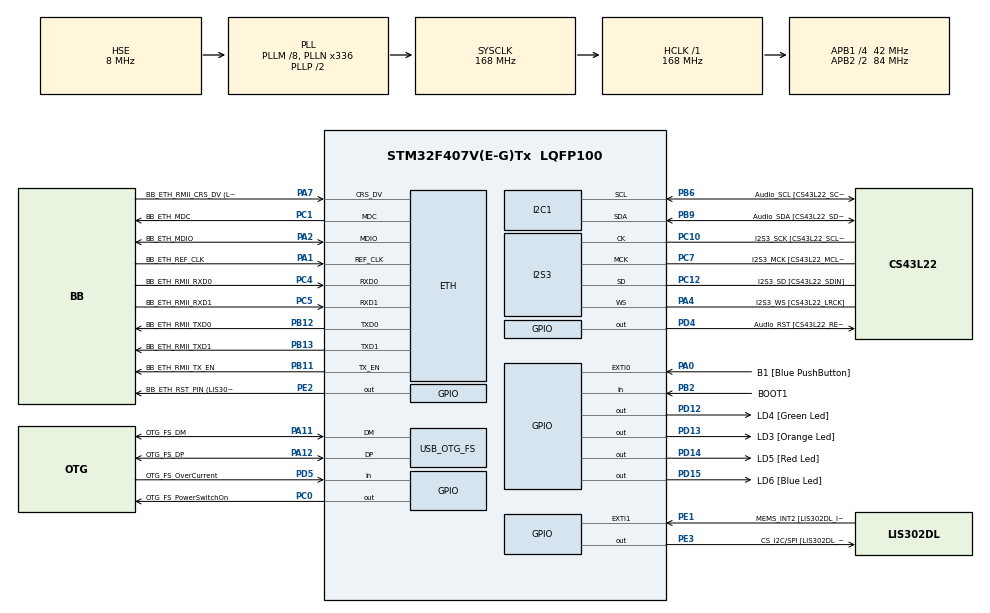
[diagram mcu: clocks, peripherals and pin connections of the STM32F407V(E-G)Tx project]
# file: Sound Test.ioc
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ETH.MediaInterface=ETH_MEDIA_INTERFACE_RMII
ETH.PHY_READ_TO=0x00004FFF
ETH.PHY_RESET_DELAY=0x000008FF
ETH.PHY_SR=0x31
ETH.PHY_WRITE_TO=0x00004FFF
ETH.PhyAddress=0
ETH.RxMode=ETH_RXINTERRUPT_MODE
FREERTOS.Tasks01=defaultTask,0,256,StartDefaultTask,Default,NULL,Dynamic,NULL,NULL;LED4_Blink,-2,128,StartTask_LED4_Blink,Default,NULL,Dynamic,NULL,NULL;AudioPlayback,0,128,StartAudioPlayback,Default,NULL,Dynamic,NULL,NULL
FREERTOS.configUSE_STATS_FORMATTING_FUNCTIONS=1
FREERTOS.configUSE_TRACE_FACILITY=1
I2S3.AudioFreq=I2S_AUDIOFREQ_96K
I2S3.AudioFreq-Half_Duplex_Master=I2S_AUDIOFREQ_96K
I2S3.ErrorAudioFreq=-2.34 %
I2S3.ErrorAudioFreq-Half_Duplex_Master=0.8 %
I2S3.FullDuplexMode=I2S_FULLDUPLEXMODE_DISABLE
I2S3.Instance=SPI$Index
I2S3.RealAudioFreq=93.75 KHz
I2S3.RealAudioFreq-Half_Duplex_Master=96.774 KHz
I2S3.VirtualMode=I2S_MODE_MASTER
LWIP.HTTPD_USE_CUSTOM_FSDATA=0
LWIP.LWIP_HTTPD=1
LWIP.LWIP_IGMP=1
LWIP.LWIP_MULTICAST_TX_OPTIONS=1
LWIP.Version=v2.0.3_Cube
Mcu.Family=STM32F4
Mcu.Name=STM32F407V(E-G)Tx
Mcu.Package=LQFP100
NVIC.ETH_IRQn=true\:5\:0\:false\:false\:true\:true\:false\:true
NVIC.OTG_FS_IRQn=true\:5\:0\:false\:false\:true\:true\:true\:true
NVIC.PriorityGroup=NVIC_PRIORITYGROUP_4
NVIC.TIM1_UP_TIM10_IRQn=true\:0\:0\:false\:false\:true\:false\:false\:true
NVIC.TimeBase=TIM1_UP_TIM10_IRQn
NVIC.TimeBaseIP=TIM1
PA0-WKUP.GPIO_Label=B1 [Blue PushButton]
PA0-WKUP.GPIO_ModeDefaultEXTI=GPIO_MODE_EVT_RISING
PA0-WKUP.GPIO_PuPd=GPIO_NOPULL
PA0-WKUP.Signal=GPXTI0
PA1.GPIO_Label=BB_ETH_REF_CLK
PA1.Mode=RMII
PA1.Signal=ETH_REF_CLK
PA10.GPIO_Label=OTG_FS_ID
PA10.GPIO_Mode=GPIO_MODE_AF_PP
PA10.GPIO_PuPd=GPIO_NOPULL
PA10.GPIO_Speed=GPIO_SPEED_FREQ_LOW
PA10.Signal=USB_OTG_FS_ID
PA11.GPIO_Label=OTG_FS_DM
PA11.GPIO_Mode=GPIO_MODE_AF_PP
PA11.GPIO_PuPd=GPIO_NOPULL
PA11.GPIO_Speed=GPIO_SPEED_FREQ_LOW
PA11.Mode=Device_Only
PA11.Signal=USB_OTG_FS_DM
PA12.GPIO_Label=OTG_FS_DP
PA12.GPIO_Mode=GPIO_MODE_AF_PP
PA12.GPIO_PuPd=GPIO_NOPULL
PA12.GPIO_Speed=GPIO_SPEED_FREQ_LOW
PA12.Mode=Device_Only
PA12.Signal=USB_OTG_FS_DP
PA13.GPIO_Label=SWDIO
PA13.Mode=Serial_Wire
PA13.Signal=SYS_JTMS-SWDIO
PA14.GPIO_Label=SWCLK
PA14.Mode=Serial_Wire
PA14.Signal=SYS_JTCK-SWCLK
PA2.GPIO_Label=BB_ETH_MDIO
PA2.Mode=RMII
PA2.Signal=ETH_MDIO
PA4.GPIO_Label=I2S3_WS [CS43L22_LRCK]
PA4.GPIO_Mode=GPIO_MODE_AF_PP
PA4.GPIO_PuPd=GPIO_NOPULL
PA4.GPIO_Speed=GPIO_SPEED_FREQ_LOW
PA4.Mode=Half_Duplex_Master
PA4.Signal=I2S3_WS
PA5.GPIO_Label=SPI1_SCK [LIS302DL_SCL/SPC]
PA5.GPIO_Mode=GPIO_MODE_AF_PP
PA5.GPIO_PuPd=GPIO_NOPULL
PA5.GPIO_Speed=GPIO_SPEED_FREQ_LOW
PA5.Signal=SPI1_SCK
PA6.GPIO_Label=SPI1_MISO [LIS302DL_SDO]
PA6.GPIO_Mode=GPIO_MODE_AF_PP
PA6.GPIO_PuPd=GPIO_NOPULL
PA6.GPIO_Speed=GPIO_SPEED_FREQ_LOW
PA6.Signal=SPI1_MISO
PA7.GPIO_Label=BB_ETH_RMII_CRS_DV (LIS302DL_SDI
PA7.Mode=RMII
PA7.Signal=ETH_CRS_DV
PA9.GPIO_Label=VBUS_FS
PA9.GPIO_Mode=GPIO_MODE_INPUT
PA9.GPIO_PuPd=GPIO_NOPULL
PA9.Signal=USB_OTG_FS_VBUS
PB10.GPIO_Label=CLK_IN [MP45DT02_CLK]
PB10.GPIO_Mode=GPIO_MODE_AF_PP
PB10.GPIO_PuPd=GPIO_NOPULL
PB10.GPIO_Speed=GPIO_SPEED_FREQ_LOW
PB10.Signal=I2S2_CK
PB11.GPIO_Label=BB_ETH_RMII_TX_EN
PB11.Mode=RMII
PB11.Signal=ETH_TX_EN
PB12.GPIO_Label=BB_ETH_RMII_TXD0
PB12.Mode=RMII
PB12.Signal=ETH_TXD0
PB13.GPIO_Label=BB_ETH_RMII_TXD1
PB13.Mode=RMII
PB13.Signal=ETH_TXD1
PB2.GPIO_Label=BOOT1
PB2.GPIO_Mode=GPIO_MODE_INPUT
PB2.GPIO_PuPd=GPIO_NOPULL
PB2.Signal=GPIO_Input
PB3.GPIO_Label=SWO
PB3.Signal=SYS_JTDO-SWO
PB6.GPIO_Label=Audio_SCL [CS43L22_SCL]
PB6.GPIO_Mode=GPIO_MODE_AF_OD
PB6.GPIO_PuPd=GPIO_NOPULL
PB6.GPIO_Speed=GPIO_SPEED_FREQ_LOW
PB6.Mode=I2C
PB6.Signal=I2C1_SCL
PB9.GPIO_Label=Audio_SDA [CS43L22_SDA]
PB9.GPIO_Mode=GPIO_MODE_AF_OD
PB9.GPIO_PuPd=GPIO_NOPULL
PB9.GPIO_Speed=GPIO_SPEED_FREQ_LOW
PB9.Mode=I2C
PB9.Signal=I2C1_SDA
PC0.GPIO_Label=OTG_FS_PowerSwitchOn
PC0.GPIO_PuPd=GPIO_NOPULL
PC0.GPIO_Speed=GPIO_SPEED_FREQ_LOW
PC0.PinState=GPIO_PIN_SET
PC0.Signal=GPIO_Output
PC1.GPIO_Label=BB_ETH_MDC
PC1.Mode=RMII
PC1.Signal=ETH_MDC
PC10.GPIO_Label=I2S3_SCK [CS43L22_SCLK]
PC10.GPIO_Mode=GPIO_MODE_AF_PP
PC10.GPIO_PuPd=GPIO_NOPULL
PC10.GPIO_Speed=GPIO_SPEED_FREQ_LOW
PC10.Mode=Half_Duplex_Master
PC10.Signal=I2S3_CK
PC12.GPIO_Label=I2S3_SD [CS43L22_SDIN]
PC12.GPIO_Mode=GPIO_MODE_AF_PP
PC12.GPIO_PuPd=GPIO_NOPULL
PC12.GPIO_Speed=GPIO_SPEED_FREQ_LOW
PC12.Mode=Half_Duplex_Master
PC12.Signal=I2S3_SD
PC14-OSC32_IN.GPIO_Label=PC14-OSC32_IN
PC14-OSC32_IN.Mode=LSE-External-Oscillator
PC14-OSC32_IN.Signal=RCC_OSC32_IN
PC15-OSC32_OUT.GPIO_Label=PC15-OSC32_OUT
PC15-OSC32_OUT.Mode=LSE-External-Oscillator
PC15-OSC32_OUT.Signal=RCC_OSC32_OUT
PC3.GPIO_Label=PDM_OUT [MP45DT02_DOUT]
PC3.GPIO_Mode=GPIO_MODE_AF_PP
PC3.GPIO_PuPd=GPIO_NOPULL
PC3.GPIO_Speed=GPIO_SPEED_FREQ_LOW
PC3.Signal=I2S2_SD
PC4.GPIO_Label=BB_ETH_RMII_RXD0
PC4.Mode=RMII
PC4.Signal=ETH_RXD0
PC5.GPIO_Label=BB_ETH_RMII_RXD1
PC5.Mode=RMII
PC5.Signal=ETH_RXD1
PC7.GPIO_Label=I2S3_MCK [CS43L22_MCLK]
PC7.GPIO_Mode=GPIO_MODE_AF_PP
PC7.GPIO_PuPd=GPIO_NOPULL
PC7.GPIO_Speed=GPIO_SPEED_FREQ_LOW
PC7.Mode=Master_Clock_Activated
PC7.Signal=I2S3_MCK
PD12.GPIO_Label=LD4 [Green Led]
PD12.GPIO_PuPd=GPIO_NOPULL
PD12.GPIO_Speed=GPIO_SPEED_FREQ_LOW
PD12.Signal=GPIO_Output
PD13.GPIO_Label=LD3 [Orange Led]
PD13.GPIO_PuPd=GPIO_NOPULL
PD13.GPIO_Speed=GPIO_SPEED_FREQ_LOW
PD13.Signal=GPIO_Output
PD14.GPIO_Label=LD5 [Red Led]
PD14.GPIO_PuPd=GPIO_NOPULL
PD14.GPIO_Speed=GPIO_SPEED_FREQ_LOW
PD14.Signal=GPIO_Output
PD15.GPIO_Label=LD6 [Blue Led]
PD15.Signal=GPIO_Output
PD4.GPIO_Label=Audio_RST [CS43L22_RESET]
PD4.GPIO_PuPd=GPIO_NOPULL
PD4.GPIO_Speed=GPIO_SPEED_FREQ_LOW
PD4.Signal=GPIO_Output
PD5.GPIO_Label=OTG_FS_OverCurrent
PD5.GPIO_Mode=GPIO_MODE_INPUT
PD5.GPIO_PuPd=GPIO_NOPULL
PD5.Signal=GPIO_Input
PE1.GPIO_Label=MEMS_INT2 [LIS302DL_INT2]
PE1.GPIO_ModeDefaultEXTI=GPIO_MODE_EVT_RISING
PE1.GPIO_PuPd=GPIO_NOPULL
PE1.Signal=GPXTI1
PE2.GPIO_Label=BB_ETH_RST_PIN (LIS302DL_CS)
PE2.Signal=GPIO_Output
PE3.GPIO_Label=CS_I2C/SPI [LIS302DL_CS_I2C/SPI]
PE3.GPIO_PuPd=GPIO_NOPULL
PE3.GPIO_Speed=GPIO_SPEED_FREQ_LOW
PE3.Signal=GPIO_Output
PH0-OSC_IN.GPIO_Label=PH0-OSC_IN
PH0-OSC_IN.Mode=HSE-External-Oscillator
PH0-OSC_IN.Signal=RCC_OSC_IN
PH1-OSC_OUT.GPIO_Label=PH1-OSC_OUT
PH1-OSC_OUT.Mode=HSE-External-Oscillator
PH1-OSC_OUT.Signal=RCC_OSC_OUT
ProjectManager.HeapSize=0x200
ProjectManager.StackSize=0x400
ProjectManager.TargetToolchain=STM32CubeIDE
RCC.48MHZClocksFreq_Value=48000000
RCC.AHBFreq_Value=168000000
RCC.APB1CLKDivider=RCC_HCLK_DIV4
RCC.APB1Freq_Value=42000000
RCC.APB1TimFreq_Value=84000000
RCC.APB2CLKDivider=RCC_HCLK_DIV2
RCC.APB2Freq_Value=84000000
RCC.APB2TimFreq_Value=168000000
RCC.CortexFreq_Value=168000000
RCC.HCLKFreq_Value=168000000
RCC.HSE_VALUE=8000000
RCC.HSI_VALUE=16000000
RCC.PLLM=8
RCC.PLLN=336
RCC.PLLQ=7
RCC.SYSCLKFreq_VALUE=168000000
RCC.SYSCLKSource=RCC_SYSCLKSOURCE_PLLCLK
RCC.VCOOutputFreq_Value=336000000
USB_DEVICE.CLASS_NAME_FS=CDC
USB_DEVICE.VirtualMode-CDC_FS=Cdc
USB_DEVICE.VirtualModeFS=Cdc_FS
USB_OTG_FS.VirtualMode=Device_Only
VP_FREERTOS_VS_CMSIS_V1.Mode=CMSIS_V1
VP_LWIP_VS_Enabled.Mode=Enabled
VP_SYS_VS_tim1.Mode=TIM1
VP_USB_DEVICE_VS_USB_DEVICE_CDC_FS.Mode=CDC_FS
board=STM32F4DISCOVERY

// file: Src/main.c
/* USER CODE BEGIN Header */
/**
  ******************************************************************************
  * @file           : main.c
  * @brief          : Main program body
  ******************************************************************************
  * @attention
  *
  * <h2><center>&copy; Copyright (c) 2019 STMicroelectronics.
  * All rights reserved.</center></h2>
  *
  * This software component is licensed by ST under Ultimate Liberty license
  * SLA0044, the "License"; You may not use this file except in compliance with
  * the License. You may obtain a copy of the License at:
  *                             www.st.com/SLA0044
  *
  ******************************************************************************
  */
/* USER CODE END Header */

#include "main.h"
#include "cmsis_os.h"
#include "lwip.h"
#include "usb_device.h"

/* USER CODE BEGIN Includes */
#include "usbd_cdc_if.h"
#include "task.h"
#include "math.h"
#include "lwip/api.h"
#include "ScreamClient.h"
/* USER CODE END Includes */

I2C_HandleTypeDef hi2c1;

I2S_HandleTypeDef hi2s3;

osThreadId defaultTaskHandle;
osThreadId LED4_BlinkHandle;
osThreadId AudioPlaybackHandle;

void SystemClock_Config(void);
static void MX_GPIO_Init(void);
static void MX_I2C1_Init(void);
static void MX_I2S3_Init(void);
void StartDefaultTask(void const * argument);
void StartTask_LED4_Blink(void const * argument);
void StartAudioPlayback(void const * argument);

int main(void)
{

  /* MCU Configuration--------------------------------------------------------*/

  /* Reset of all peripherals, Initializes the Flash interface and the Systick. */
  HAL_Init();

  /* Configure the system clock */
  SystemClock_Config();

  /* Initialize all configured peripherals */
  MX_GPIO_Init();
  MX_I2C1_Init();
  MX_I2S3_Init();

  /* Create the thread(s) */
  /* definition and creation of defaultTask */
  osThreadDef(defaultTask, StartDefaultTask, osPriorityNormal, 0, 256);
  defaultTaskHandle = osThreadCreate(osThread(defaultTask), NULL);

  /* definition and creation of LED4_Blink */
  osThreadDef(LED4_Blink, StartTask_LED4_Blink, osPriorityLow, 0, 128);
  LED4_BlinkHandle = osThreadCreate(osThread(LED4_Blink), NULL);

  /* definition and creation of AudioPlayback */
  osThreadDef(AudioPlayback, StartAudioPlayback, osPriorityNormal, 0, 512);
  AudioPlaybackHandle = osThreadCreate(osThread(AudioPlayback), NULL);

  /* Start scheduler */
  osKernelStart();

  /* We should never get here as control is now taken by the scheduler */

  /* Infinite loop */
  while (1)
  {

  }
}

void SystemClock_Config(void)
{
  RCC_OscInitTypeDef RCC_OscInitStruct = {0};
  RCC_ClkInitTypeDef RCC_ClkInitStruct = {0};
  RCC_PeriphCLKInitTypeDef PeriphClkInitStruct = {0};

  /** Configure the main internal regulator output voltage
  */
  __HAL_RCC_PWR_CLK_ENABLE();
  __HAL_PWR_VOLTAGESCALING_CONFIG(PWR_REGULATOR_VOLTAGE_SCALE1);
  /** Initializes the CPU, AHB and APB busses clocks
  */
  RCC_OscInitStruct.OscillatorType = RCC_OSCILLATORTYPE_HSE;
  RCC_OscInitStruct.HSEState = RCC_HSE_ON;
  RCC_OscInitStruct.PLL.PLLState = RCC_PLL_ON;
  RCC_OscInitStruct.PLL.PLLSource = RCC_PLLSOURCE_HSE;
  RCC_OscInitStruct.PLL.PLLM = 8;
  RCC_OscInitStruct.PLL.PLLN = 336;
  RCC_OscInitStruct.PLL.PLLP = RCC_PLLP_DIV2;
  RCC_OscInitStruct.PLL.PLLQ = 7;
  if (HAL_RCC_OscConfig(&RCC_OscInitStruct) != HAL_OK)
  {
    Error_Handler();
  }
  /** Initializes the CPU, AHB and APB busses clocks
  */
  RCC_ClkInitStruct.ClockType = RCC_CLOCKTYPE_HCLK|RCC_CLOCKTYPE_SYSCLK
                              |RCC_CLOCKTYPE_PCLK1|RCC_CLOCKTYPE_PCLK2;
  RCC_ClkInitStruct.SYSCLKSource = RCC_SYSCLKSOURCE_PLLCLK;
  RCC_ClkInitStruct.AHBCLKDivider = RCC_SYSCLK_DIV1;
  RCC_ClkInitStruct.APB1CLKDivider = RCC_HCLK_DIV4;
  RCC_ClkInitStruct.APB2CLKDivider = RCC_HCLK_DIV2;

  if (HAL_RCC_ClockConfig(&RCC_ClkInitStruct, FLASH_LATENCY_5) != HAL_OK)
  {
    Error_Handler();
  }
  PeriphClkInitStruct.PeriphClockSelection = RCC_PERIPHCLK_I2S;
  PeriphClkInitStruct.PLLI2S.PLLI2SN = 192;
  PeriphClkInitStruct.PLLI2S.PLLI2SR = 2;
  if (HAL_RCCEx_PeriphCLKConfig(&PeriphClkInitStruct) != HAL_OK)
  {
    Error_Handler();
  }
}

static void MX_I2C1_Init(void)
{

  hi2c1.Instance = I2C1;
  hi2c1.Init.ClockSpeed = 100000;
  hi2c1.Init.DutyCycle = I2C_DUTYCYCLE_2;
  hi2c1.Init.OwnAddress1 = 0;
  hi2c1.Init.AddressingMode = I2C_ADDRESSINGMODE_7BIT;
  hi2c1.Init.DualAddressMode = I2C_DUALADDRESS_DISABLE;
  hi2c1.Init.OwnAddress2 = 0;
  hi2c1.Init.GeneralCallMode = I2C_GENERALCALL_DISABLE;
  hi2c1.Init.NoStretchMode = I2C_NOSTRETCH_DISABLE;
  if (HAL_I2C_Init(&hi2c1) != HAL_OK)
  {
    Error_Handler();
  }

}

static void MX_I2S3_Init(void)
{

  hi2s3.Instance = SPI3;
  hi2s3.Init.Mode = I2S_MODE_MASTER_TX;
  hi2s3.Init.Standard = I2S_STANDARD_PHILIPS;
  hi2s3.Init.DataFormat = I2S_DATAFORMAT_16B;
  hi2s3.Init.MCLKOutput = I2S_MCLKOUTPUT_ENABLE;
  hi2s3.Init.AudioFreq = I2S_AUDIOFREQ_96K;
  hi2s3.Init.CPOL = I2S_CPOL_LOW;
  hi2s3.Init.ClockSource = I2S_CLOCK_PLL;
  hi2s3.Init.FullDuplexMode = I2S_FULLDUPLEXMODE_DISABLE;
  if (HAL_I2S_Init(&hi2s3) != HAL_OK)
  {
    Error_Handler();
  }

}

static void MX_GPIO_Init(void)
{
  GPIO_InitTypeDef GPIO_InitStruct = {0};

  /* GPIO Ports Clock Enable */
  __HAL_RCC_GPIOE_CLK_ENABLE();
  __HAL_RCC_GPIOC_CLK_ENABLE();
  __HAL_RCC_GPIOH_CLK_ENABLE();
  __HAL_RCC_GPIOA_CLK_ENABLE();
  __HAL_RCC_GPIOB_CLK_ENABLE();
  __HAL_RCC_GPIOD_CLK_ENABLE();

  /*Configure GPIO pin Output Level */
  HAL_GPIO_WritePin(GPIOE, BB_ETH_RST_PIN_Pin|CS_I2C_SPI_Pin, GPIO_PIN_RESET);

  /*Configure GPIO pin Output Level */
  HAL_GPIO_WritePin(OTG_FS_PowerSwitchOn_GPIO_Port, OTG_FS_PowerSwitchOn_Pin, GPIO_PIN_SET);

  /*Configure GPIO pin Output Level */
  HAL_GPIO_WritePin(GPIOD, LD4_Pin|LD3_Pin|LD5_Pin|LD6_Pin
                          |Audio_RST_Pin, GPIO_PIN_RESET);

  /*Configure GPIO pins : BB_ETH_RST_PIN_Pin CS_I2C_SPI_Pin */
  GPIO_InitStruct.Pin = BB_ETH_RST_PIN_Pin|CS_I2C_SPI_Pin;
  GPIO_InitStruct.Mode = GPIO_MODE_OUTPUT_PP;
  GPIO_InitStruct.Pull = GPIO_NOPULL;
  GPIO_InitStruct.Speed = GPIO_SPEED_FREQ_LOW;
  HAL_GPIO_Init(GPIOE, &GPIO_InitStruct);

  /*Configure GPIO pin : OTG_FS_PowerSwitchOn_Pin */
  GPIO_InitStruct.Pin = OTG_FS_PowerSwitchOn_Pin;
  GPIO_InitStruct.Mode = GPIO_MODE_OUTPUT_PP;
  GPIO_InitStruct.Pull = GPIO_NOPULL;
  GPIO_InitStruct.Speed = GPIO_SPEED_FREQ_LOW;
  HAL_GPIO_Init(OTG_FS_PowerSwitchOn_GPIO_Port, &GPIO_InitStruct);

  /*Configure GPIO pin : PDM_OUT_Pin */
  GPIO_InitStruct.Pin = PDM_OUT_Pin;
  GPIO_InitStruct.Mode = GPIO_MODE_AF_PP;
  GPIO_InitStruct.Pull = GPIO_NOPULL;
  GPIO_InitStruct.Speed = GPIO_SPEED_FREQ_LOW;
  GPIO_InitStruct.Alternate = GPIO_AF5_SPI2;
  HAL_GPIO_Init(PDM_OUT_GPIO_Port, &GPIO_InitStruct);

  /*Configure GPIO pin : B1_Pin */
  GPIO_InitStruct.Pin = B1_Pin;
  GPIO_InitStruct.Mode = GPIO_MODE_EVT_RISING;
  GPIO_InitStruct.Pull = GPIO_NOPULL;
  HAL_GPIO_Init(B1_GPIO_Port, &GPIO_InitStruct);

  /*Configure GPIO pins : SPI1_SCK_Pin SPI1_MISO_Pin */
  GPIO_InitStruct.Pin = SPI1_SCK_Pin|SPI1_MISO_Pin;
  GPIO_InitStruct.Mode = GPIO_MODE_AF_PP;
  GPIO_InitStruct.Pull = GPIO_NOPULL;
  GPIO_InitStruct.Speed = GPIO_SPEED_FREQ_LOW;
  GPIO_InitStruct.Alternate = GPIO_AF5_SPI1;
  HAL_GPIO_Init(GPIOA, &GPIO_InitStruct);

  /*Configure GPIO pin : BOOT1_Pin */
  GPIO_InitStruct.Pin = BOOT1_Pin;
  GPIO_InitStruct.Mode = GPIO_MODE_INPUT;
  GPIO_InitStruct.Pull = GPIO_NOPULL;
  HAL_GPIO_Init(BOOT1_GPIO_Port, &GPIO_InitStruct);

  /*Configure GPIO pin : CLK_IN_Pin */
  GPIO_InitStruct.Pin = CLK_IN_Pin;
  GPIO_InitStruct.Mode = GPIO_MODE_AF_PP;
  GPIO_InitStruct.Pull = GPIO_NOPULL;
  GPIO_InitStruct.Speed = GPIO_SPEED_FREQ_LOW;
  GPIO_InitStruct.Alternate = GPIO_AF5_SPI2;
  HAL_GPIO_Init(CLK_IN_GPIO_Port, &GPIO_InitStruct);

  /*Configure GPIO pins : LD4_Pin LD3_Pin LD5_Pin LD6_Pin
                           Audio_RST_Pin */
  GPIO_InitStruct.Pin = LD4_Pin|LD3_Pin|LD5_Pin|LD6_Pin
                          |Audio_RST_Pin;
  GPIO_InitStruct.Mode = GPIO_MODE_OUTPUT_PP;
  GPIO_InitStruct.Pull = GPIO_NOPULL;
  GPIO_InitStruct.Speed = GPIO_SPEED_FREQ_LOW;
  HAL_GPIO_Init(GPIOD, &GPIO_InitStruct);

  /*Configure GPIO pin : OTG_FS_OverCurrent_Pin */
  GPIO_InitStruct.Pin = OTG_FS_OverCurrent_Pin;
  GPIO_InitStruct.Mode = GPIO_MODE_INPUT;
  GPIO_InitStruct.Pull = GPIO_NOPULL;
  HAL_GPIO_Init(OTG_FS_OverCurrent_GPIO_Port, &GPIO_InitStruct);

  /*Configure GPIO pin : MEMS_INT2_Pin */
  GPIO_InitStruct.Pin = MEMS_INT2_Pin;
  GPIO_InitStruct.Mode = GPIO_MODE_EVT_RISING;
  GPIO_InitStruct.Pull = GPIO_NOPULL;
  HAL_GPIO_Init(MEMS_INT2_GPIO_Port, &GPIO_InitStruct);

}

/* USER CODE BEGIN 4 */
char buf[1000];

/* USER CODE END 4 */

void StartDefaultTask(void const * argument)
{
  /* init code for LWIP */
  MX_LWIP_Init();

  /* init code for USB_DEVICE */
  MX_USB_DEVICE_Init();

  /* USER CODE BEGIN 5 */
  httpd_init();

  uint8_t buffer[] = "\n\r TaskList:\n\r Task\t\tStatus\tPrio\tStack\tNum\r\n";

  /* Infinite loop */
  for(;;)
  {
	//CDC_Transmit_FS(buffer,sizeof(buffer));
	//vTaskList(buf);
	//CDC_Transmit_FS(buf,strlen(buf));
	//uxTaskGetSystemState();

    osDelay(1000);
  }
  /* USER CODE END 5 */
}

void StartTask_LED4_Blink(void const * argument)
{
  /* USER CODE BEGIN StartTask_LED4_Blink */
  /* Infinite loop */
  for(;;)
  {
	HAL_GPIO_WritePin(GPIOD, LD4_Pin, GPIO_PIN_RESET);
    osDelay(250);
	HAL_GPIO_WritePin(GPIOD, LD4_Pin, GPIO_PIN_SET);
    osDelay(250);
  }
  /* USER CODE END StartTask_LED4_Blink */
}

//#define BUFFSIZE 512
//unsigned char soundbuf[BUFFSIZE*2];

void StartAudioPlayback(void const * argument)
{
  static int packetCount = 0;
  /* USER CODE BEGIN StartAudioPlayback */
  //fill sound buffer:
//  for(int i = 0 ; i < BUFFSIZE; i=i+2)
//  {
//	  *(int16_t*)(&soundbuf[i*2]) = 32000 * sin((float)i/128*2*M_PI);
//	 //soundbuf[i+1] = soundbuf[i];
	// *(int16_t*)(&soundbuf[i*2+2]) = 32000 * sin((float)i/256*2*M_PI);
//  }

//  if(BSP_AUDIO_OUT_Init(OUTPUT_DEVICE_HEADPHONE,50, 44100)!= AUDIO_OK)
//  {
//	  while (1)
//	  {
//		  osDelay(1);
//	  }
//  }

	if(Scream_Init() != ScreamOK)
	{
		// error while initializing the Scream Player
		// stay here 4 ever
		while (1)
		{
			osDelay(1);
		}
	}

  //open udp server
  err_t err=0, recv_err;
  static struct netconn *conn;
  static struct netbuf *buf;
  //static struct ip_addr *addr;
  //static unsigned short port;

  // netif_dhcp_data(netif)
  ip_addr_t mcastip;
  //ipaddr_aton(SCREAM_DEFAULT_MULTICAST_GROUP, &mcastip);+
  IP4_ADDR(&mcastip, 239,255,77,77);

  conn = netconn_new(NETCONN_UDP);
  if (conn!= NULL)
  {
	  err = netconn_bind(conn, IP_ADDR_ANY, SCREAM_DEFAULT_PORT);

	  if (err == ERR_OK)
	  {
		  // wait until ip address is set
		  while(gnetif.ip_addr.addr == 0)
		  {
			  osDelay(200);
		  }

		  ip_addr_t localip = gnetif.ip_addr;
		  // join multicast group
		  err = netconn_join_leave_group(conn, &mcastip, &localip,  NETCONN_JOIN );

		  if (err != ERR_OK)
		  {
			  while (1)
			  {
				  osDelay(200);
			  }
		  }

		  // rceveive the pakets and hand em to the Scream Player
		  while (1)
		  {
			  recv_err = netconn_recv(conn, &buf);

			  if (recv_err == ERR_OK)
			  {
				Scream_ret_enum Scream_ret = Scream_SinkBuffer(buf);

				packetCount++;

				//addr = netbuf_fromaddr(buf);
				//port = netbuf_fromport(buf);
				//void* databuf;
				//uint16_t datasize;
				//netbuf_data(buf, &databuf, &datasize);

				//Scream_ret_enum Scream_ret = Scream_ParsePacket(databuf, datasize);

				//netconn_connect(conn, addr, port);
				//buf->addr.addr = 0;
				//netconn_send(conn,buf);
				//netbuf_delete(buf);
			  }
		  }
	  }
	  else // (err == ERR_OK)
	  {
		  netconn_delete(conn);
	  }
   }

  /* Infinite loop */
  for(;;)
  {
	//BSP_AUDIO_OUT_Play(soundbuf, BUFFSIZE);
	osDelay(200);
  }
  /* USER CODE END StartAudioPlayback */
}

void HAL_TIM_PeriodElapsedCallback(TIM_HandleTypeDef *htim)
{
  if (htim->Instance == TIM1) {
    HAL_IncTick();
  }
}

void Error_Handler(void)
{
}

/************************ (C) COPYRIGHT STMicroelectronics *****END OF FILE****/
